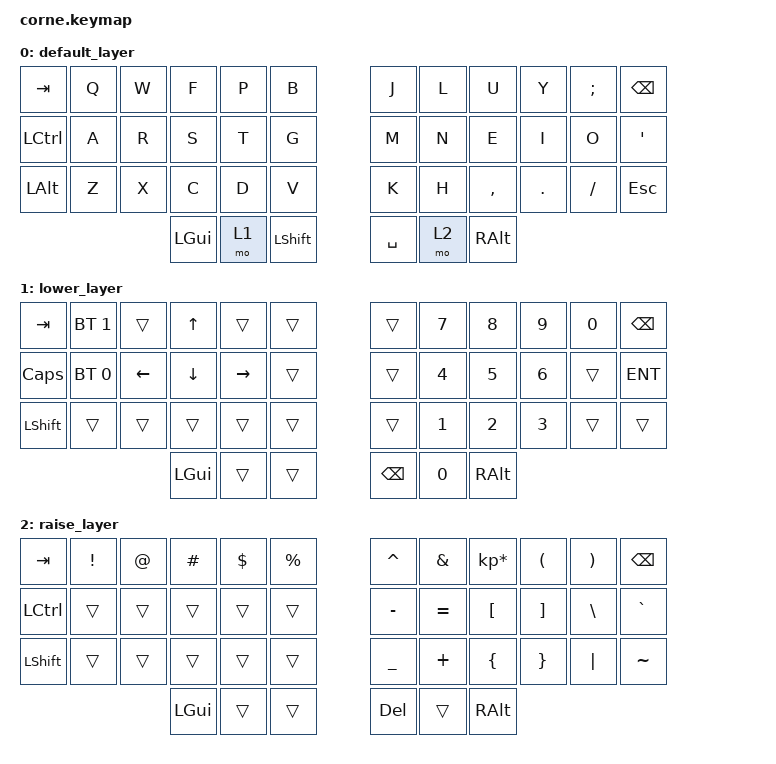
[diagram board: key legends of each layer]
/*
 * Copyright (c) 2020 The ZMK Contributors
 *
 * SPDX-License-Identifier: MIT
 */

#include <behaviors.dtsi>
#include <dt-bindings/zmk/keys.h>
#include <dt-bindings/zmk/bt.h>

/ {
        keymap {
                compatible = "zmk,keymap";

                default_layer {
// -----------------------------------------------------------------------------------------
// |  TAB |  Q  |  W  |  E  |  R  |  T  |   |  Y  |  U   |  I  |  O  |  P  | BKSP |
// | CTRL |  A  |  S  |  D  |  F  |  G  |   |  H  |  J   |  K  |  L  |  ;  |  '   |
// | SHFT |  Z  |  X  |  C  |  V  |  B  |   |  N  |  M   |  ,  |  .  |  /  | ESC  |
//                    | GUI | LWR | SPC |   | ENT | RSE  | ALT |
                        bindings = <
   &kp TAB   &kp Q &kp W &kp F &kp P &kp B   &kp J &kp L  &kp U     &kp Y   &kp SEMI    &kp BSPC
   &kp LCTRL &kp A &kp R &kp S &kp T &kp G   &kp M &kp N  &kp E     &kp I   &kp O &kp SQT
   &kp LALT &kp Z &kp X &kp C &kp D &kp V   &kp K &kp H  &kp COMMA &kp DOT &kp FSLH &kp ESC
                  &kp LGUI &mo 1 &kp LSHIFT   &kp SPACE &mo 2 &kp RALT
                        >;
                };
                lower_layer {
// -----------------------------------------------------------------------------------------
// |  TAB |  1  |  2  |  3  |  4  |  5  |   |  6  |  7  |  8  |  9  |  0  | BKSP |
// | BTCLR| BT1 | BT2 | BT3 | BT4 | BT5 |   | LFT | DWN |  UP | RGT |     |      |
// | SHFT |     |     |     |     |     |   |     |     |     |     |     |      |
//                    | GUI |     | SPC |   | ENT |     | ALT |
                        bindings = <
   &kp TAB      &bt BT_SEL 1 &trans       &kp UP       &trans       &trans        &trans       &kp N7   &kp N8         &kp N9          &kp N0 &kp BSPC
   &kp CAPS     &bt BT_SEL 0 &kp LEFT     &kp DOWN     &kp RIGHT    &trans        &trans       &kp N4   &kp N5         &kp N6          &trans &kp ENT 
   &kp LSHFT    &trans       &trans       &trans       &trans       &trans        &trans       &kp N1   &kp N2         &kp N3          &trans &trans
                          	        &kp LGUI     &trans       &trans      &kp BSPC       &kp N0   &kp RALT
                        >;
                };

                raise_layer {
// -----------------------------------------------------------------------------------------
// |  TAB |  !  |  @  |  #  |  $  |  %  |   |  ^  |  &  |  *  |  (  |  )  | BKSP |
// | CTRL |     |     |     |     |     |   |  -  |  =  |  [  |  ]  |  \  |  `   |
// | SHFT |     |     |     |     |     |   |  _  |  +  |  {  |  }  | "|" |  ~   |
//                    | GUI |     | SPC |   | ENT |     | ALT |
                        bindings = <
   &kp  TAB  &kp EXCL &kp AT &kp HASH &kp DLLR &kp PRCNT   &kp CARET &kp AMPS  &kp KP_MULTIPLY &kp LPAR &kp RPAR &kp BSPC
   &kp LCTRL &trans   &trans &trans   &trans   &trans      &kp MINUS &kp EQUAL &kp LBKT        &kp RBKT &kp BSLH &kp GRAVE
   &kp LSHFT &trans   &trans &trans   &trans   &trans      &kp UNDER &kp PLUS  &kp LBRC        &kp RBRC &kp PIPE &kp TILDE
                    	     &kp LGUI &trans   &trans   &kp DEL   &trans    &kp RALT
                        >;
                };
        };
};
